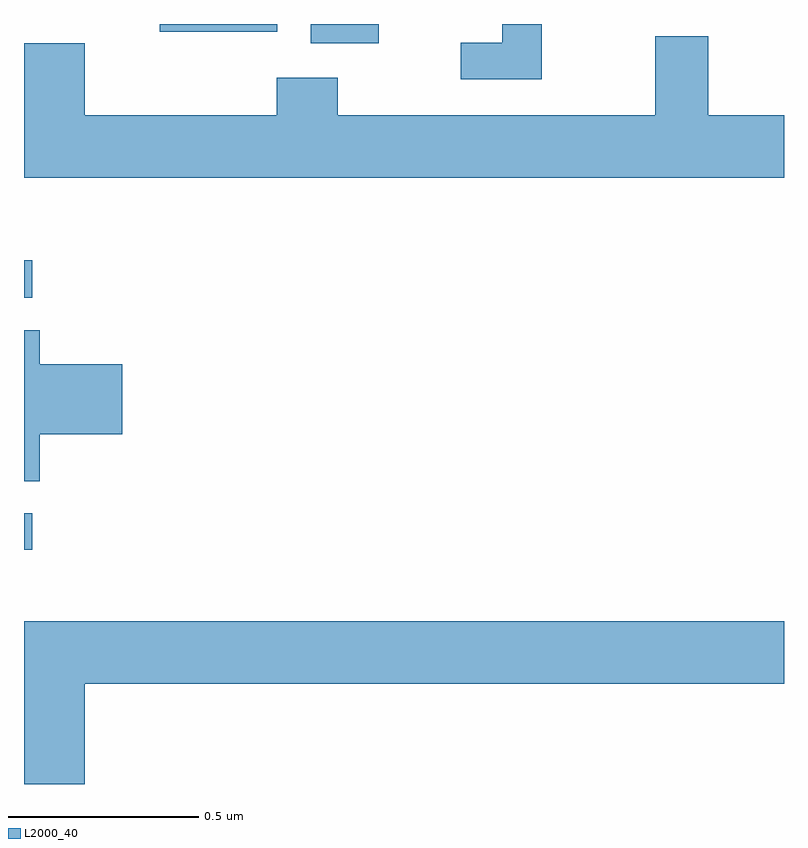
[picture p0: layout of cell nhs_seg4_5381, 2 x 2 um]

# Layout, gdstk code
import gdstk
lib = gdstk.Library(unit=1e-6, precision=1e-09)
def R(c, l, rs):  # rectangles x0, y0, x1, y1
    for r in rs: c.add(gdstk.rectangle(r[:2], r[2:], *l))
def P(c, l, *ps):  # polygons
    for p in ps: c.add(gdstk.Polygon(p, *l))
L2000_40 = (2000, 40)

nhs_seg4_5381 = lib.new_cell('nhs_seg4_5381')
R(nhs_seg4_5381, L2000_40, [(177,786.516,177.022,786.612), (177,787.179,177.022,787.278), (177.755,787.85,177.934,787.9), (177.357,787.879,177.666,787.9)])
P(nhs_seg4_5381, L2000_40, [(178.363,787.9),(178.259,787.9),(178.259,787.851),(178.149,787.851),(178.149,787.755),(178.363,787.755)],
  [(179,787.66),(178.801,787.66),(178.801,787.868),(178.661,787.868),(178.661,787.66),(177.825,787.66),(177.825,787.759),(177.665,787.759),(177.665,787.66),(177.16,787.66),(177.16,787.849),(177,787.849),(177,787.496),(179,787.496)],
  [(177.041,786.821),(177.259,786.821),(177.259,787.004),(177.041,787.004),(177.041,787.094),(177,787.094),(177,786.697),(177.041,786.697)],
  [(177.16,786.164),(179,786.164),(179,786.328),(177,786.328),(177,785.9),(177.16,785.9)])

lib.write_gds('nhs_seg4_5381.gds')
